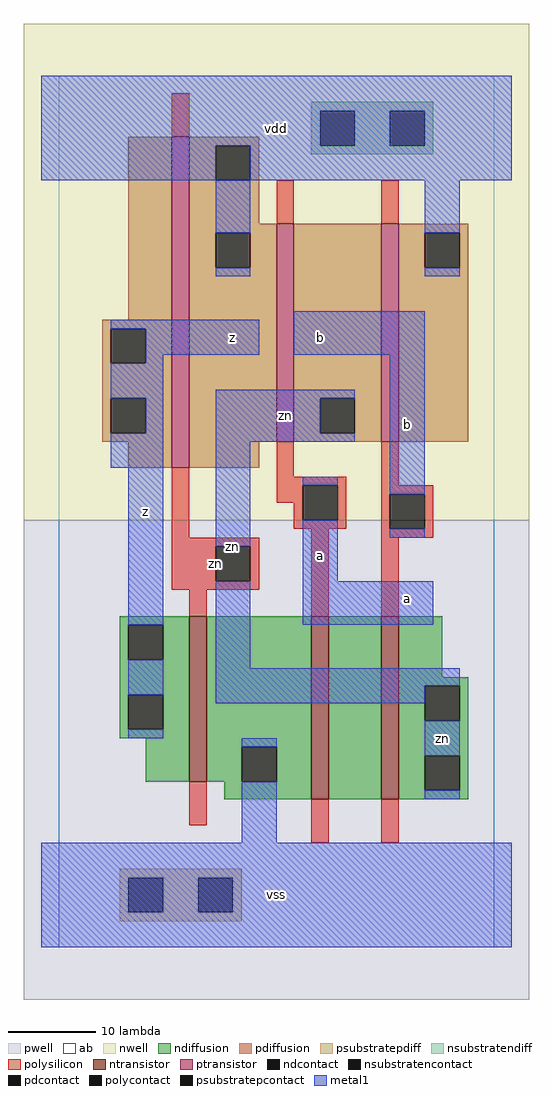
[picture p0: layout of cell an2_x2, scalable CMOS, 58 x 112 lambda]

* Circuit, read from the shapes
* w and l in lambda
.subckt an2_x2 a b vdd vss z zn
M1 vss zn z vss nfet w=19 l=2
M2 n1 a vss vss nfet w=21 l=2
M3 zn b n1 vss nfet w=21 l=2
M4 vdd zn z vdd pfet w=38 l=2
M5 zn a vdd vdd pfet w=25 l=2
M6 vdd b zn vdd pfet w=25 l=2
.ends

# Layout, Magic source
magic
tech scmos
<< ab >>
rect 0 0 50 100
<< pwell >>
rect -4 -6 54 49
<< nwell >>
rect -4 49 54 106
<< polysilicon >>
rect 13 93 15 98
rect 25 83 27 88
rect 37 83 39 88
rect 13 47 15 55
rect 25 54 27 58
rect 25 53 33 54
rect 25 51 28 53
rect 27 49 28 51
rect 32 49 33 53
rect 27 48 33 49
rect 37 53 39 58
rect 37 52 43 53
rect 37 48 38 52
rect 42 48 43 52
rect 13 46 23 47
rect 13 42 18 46
rect 22 42 23 46
rect 13 41 23 42
rect 15 38 17 41
rect 29 38 31 48
rect 37 47 43 48
rect 37 38 39 47
rect 15 14 17 19
rect 29 12 31 17
rect 37 12 39 17
<< ndiffusion >>
rect 7 37 15 38
rect 7 33 8 37
rect 12 33 15 37
rect 7 29 15 33
rect 7 25 8 29
rect 12 25 15 29
rect 7 24 15 25
rect 10 19 15 24
rect 17 23 29 38
rect 17 19 21 23
rect 25 19 29 23
rect 19 17 29 19
rect 31 17 37 38
rect 39 31 44 38
rect 39 30 47 31
rect 39 26 42 30
rect 46 26 47 30
rect 39 22 47 26
rect 39 18 42 22
rect 46 18 47 22
rect 39 17 47 18
<< pdiffusion >>
rect 8 72 13 93
rect 5 71 13 72
rect 5 67 6 71
rect 10 67 13 71
rect 5 63 13 67
rect 5 59 6 63
rect 10 59 13 63
rect 5 58 13 59
rect 8 55 13 58
rect 15 92 23 93
rect 15 88 18 92
rect 22 88 23 92
rect 15 83 23 88
rect 15 82 25 83
rect 15 78 18 82
rect 22 78 25 82
rect 15 58 25 78
rect 27 63 37 83
rect 27 59 30 63
rect 34 59 37 63
rect 27 58 37 59
rect 39 82 47 83
rect 39 78 42 82
rect 46 78 47 82
rect 39 58 47 78
rect 15 55 23 58
<< metal1 >>
rect -2 92 52 100
rect -2 88 18 92
rect 22 88 52 92
rect 18 82 22 88
rect 18 77 22 78
rect 42 82 46 88
rect 42 77 46 78
rect 6 71 23 72
rect 10 68 23 71
rect 27 68 42 73
rect 10 67 12 68
rect 6 63 12 67
rect 10 59 12 63
rect 6 55 12 59
rect 8 37 12 55
rect 8 29 12 33
rect 18 63 34 64
rect 18 59 30 63
rect 18 58 34 59
rect 18 46 22 58
rect 18 32 22 42
rect 28 53 32 54
rect 28 42 32 49
rect 38 52 42 68
rect 38 47 42 48
rect 28 37 43 42
rect 18 30 46 32
rect 18 28 42 30
rect 8 24 12 25
rect 21 23 25 24
rect 21 12 25 19
rect 42 22 46 26
rect 42 17 46 18
rect -2 0 52 12
<< ntransistor >>
rect 15 19 17 38
rect 29 17 31 38
rect 37 17 39 38
<< ptransistor >>
rect 13 55 15 93
rect 25 58 27 83
rect 37 58 39 83
<< polycontact >>
rect 28 49 32 53
rect 38 48 42 52
rect 18 42 22 46
<< ndcontact >>
rect 8 33 12 37
rect 8 25 12 29
rect 21 19 25 23
rect 42 26 46 30
rect 42 18 46 22
<< pdcontact >>
rect 6 67 10 71
rect 6 59 10 63
rect 18 88 22 92
rect 18 78 22 82
rect 30 59 34 63
rect 42 78 46 82
<< psubstratepcontact >>
rect 8 4 12 8
rect 16 4 20 8
<< nsubstratencontact >>
rect 30 92 34 96
rect 38 92 42 96
<< psubstratepdiff >>
rect 7 8 21 9
rect 7 4 8 8
rect 12 4 16 8
rect 20 4 21 8
rect 7 3 21 4
<< nsubstratendiff >>
rect 29 96 43 97
rect 29 92 30 96
rect 34 92 38 96
rect 42 92 43 96
rect 29 91 43 92
<< labels >>
rlabel polysilicon 18 44 18 44 6 zn
rlabel metal1 20 46 20 46 6 zn
rlabel metal1 10 50 10 50 6 z
rlabel metal1 10 50 10 50 6 z
rlabel metal1 20 70 20 70 6 z
rlabel metal1 20 70 20 70 6 z
rlabel metal1 25 6 25 6 6 vss
rlabel metal1 25 6 25 6 6 vss
rlabel metal1 30 45 30 45 6 a
rlabel metal1 30 45 30 45 6 a
rlabel metal1 26 61 26 61 6 zn
rlabel metal1 30 70 30 70 6 b
rlabel metal1 30 70 30 70 6 b
rlabel metal1 25 94 25 94 6 vdd
rlabel metal1 25 94 25 94 6 vdd
rlabel metal1 25 94 25 94 6 vdd
rlabel metal1 25 94 25 94 6 vdd
rlabel metal1 44 24 44 24 6 zn
rlabel metal1 40 40 40 40 6 a
rlabel metal1 40 40 40 40 6 a
rlabel metal1 40 60 40 60 6 b
rlabel metal1 40 60 40 60 6 b
<< end >>
